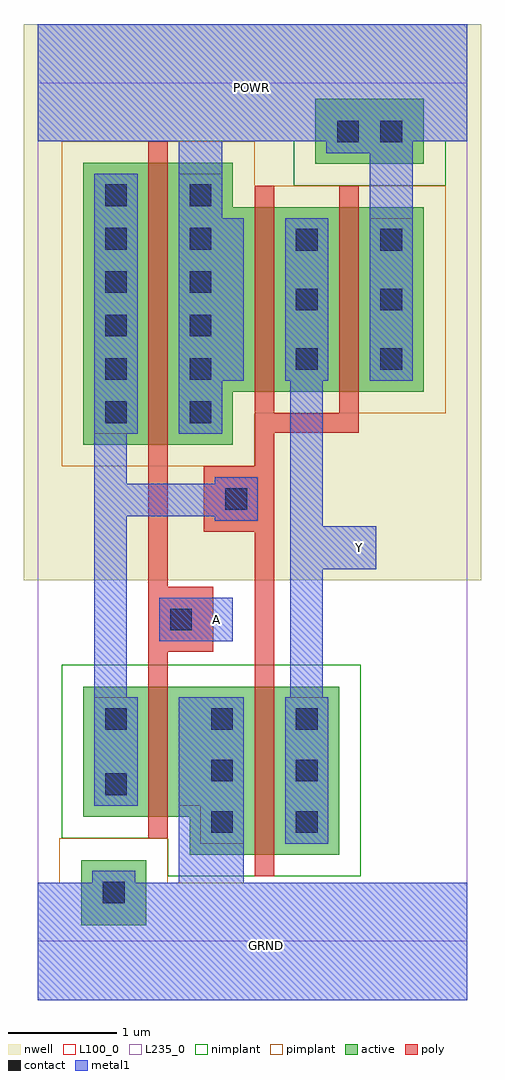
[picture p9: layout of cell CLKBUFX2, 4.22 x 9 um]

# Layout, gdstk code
import gdstk
lib = gdstk.Library(unit=1e-6, precision=1e-09)
def R(c, l, rs):  # rectangles x0, y0, x1, y1
    for r in rs: c.add(gdstk.rectangle(r[:2], r[2:], *l))
def A(c, l, x, y, w, h, nx, ny, dx, dy):  # array of equal rectangles
    R(c, l, [(x+i*dx, y+j*dy, x+i*dx+w, y+j*dy+h) for i in range(nx) for j in range(ny)])
def P(c, l, *ps):  # polygons
    for p in ps: c.add(gdstk.Polygon(p, *l))
active = (1, 0)
nwell = (2, 0)
poly = (3, 0)
nimplant = (4, 0)
pimplant = (5, 0)
contact = (6, 0)
metal1 = (7, 0)
L100_0 = (100, 0)
L235_0 = (235, 0)

clkbufx2 = lib.new_cell('CLKBUFX2')
R(clkbufx2, active, [(0.4,0.15,1,0.75), (2,0.8,2.18,2.35), (2.18,0.8,2.78,2.35), (0.42,1.15,1.02,2.35), (1.02,1.15,1.2,2.35), (0.42,4.58,1.02,7.18), (1.02,4.58,1.2,7.18), (2,5.07,2.18,6.77), (2.18,5.07,2.78,6.77), (2.78,5.07,2.96,6.77), (2.96,5.07,3.56,6.77), (2.56,7.17,3.56,7.77)])
P(clkbufx2, active, [(2,2.35),(1.2,2.35),(1.2,1.15),(1.4,1.15),(1.4,0.8),(2,0.8)],
  [(2,6.77),(1.8,6.77),(1.8,7.18),(1.2,7.18),(1.2,4.58),(1.8,4.58),(1.8,5.07),(2,5.07)])
R(clkbufx2, nwell, [(-0.13,3.33,4.09,8.46)])
R(clkbufx2, poly, [(2,0.6,2.18,2.55), (2,0.6,2.18,0.8), (1.02,0.95,1.2,1.15), (1.02,0.95,1.2,2.55), (1.02,2.35,1.2,2.55), (2,2.35,2.18,2.55), (1.02,4.38,1.2,4.58), (1.02,4.38,1.2,7.38), (2,4.87,2.18,5.07), (2,4.87,2.18,6.97), (2.78,4.87,2.96,5.07), (2.78,4.87,2.96,6.97), (2,6.77,2.18,6.97), (2.78,6.77,2.96,6.97), (1.02,7.18,1.2,7.38)])
P(clkbufx2, poly, [(2.96,4.87),(2,4.87),(2,4.38),(1.53,4.38),(1.53,3.78),(2,3.78),(2,2.53),(2.18,2.53),(2.18,4.69),(2.96,4.69)],
  [(1.62,3.27),(1.2,3.27),(1.2,4.44),(1.02,4.44),(1.02,2.48),(1.2,2.48),(1.2,2.67),(1.62,2.67)])
P(clkbufx2, nimplant, [(3.96,8.46),(0,8.46),(0,7.38),(2.36,7.38),(2.36,6.97),(3.76,6.97),(3.76,7.38),(3.96,7.38)],
  [(2.98,2.55),(0.22,2.55),(0.22,0.95),(1.2,0.95),(1.2,0.6),(2.98,0.6)])
P(clkbufx2, pimplant, [(3.76,6.97),(2,6.97),(2,7.38),(0.22,7.38),(0.22,4.38),(2,4.38),(2,4.87),(3.76,4.87)],
  [(3.96,0.54),(1.2,0.54),(1.2,0.95),(0.2,0.95),(0.2,0.54),(0,0.54),(0,-0.54),(3.96,-0.54)])
A(clkbufx2, contact, 1.6, 1, 0.2, 0.2, 1, 3, 0, 0.475)
A(clkbufx2, contact, 2.38, 1, 0.2, 0.2, 1, 3, 0, 0.475)
A(clkbufx2, contact, 0.62, 4.78, 0.2, 0.2, 1, 6, 0, 0.4)
A(clkbufx2, contact, 1.4, 4.78, 0.2, 0.2, 1, 6, 0, 0.4)
A(clkbufx2, contact, 2.38, 5.27, 0.2, 0.2, 1, 3, 0, 0.55)
A(clkbufx2, contact, 3.16, 5.27, 0.2, 0.2, 1, 3, 0, 0.55)
R(clkbufx2, contact, [(0.6,0.35,0.8,0.55), (0.62,1.35,0.82,1.55), (0.62,1.95,0.82,2.15), (1.22,2.87,1.42,3.07), (1.73,3.98,1.93,4.18), (2.76,7.37,2.96,7.57), (3.16,7.37,3.36,7.57)])
R(clkbufx2, metal1, [(0,-0.54,3.96,0.54), (0.5,0.25,0.9,0.65), (1.3,0.54,1.9,2.25), (1.12,2.77,1.8,3.17), (1.5,2.82,1.8,3.12), (2.82,3.48,3.12,3.78), (1.3,7.08,1.7,7.38), (0,7.38,3.96,8.46)])
P(clkbufx2, metal1, [(3.46,7.67),(2.66,7.67),(2.66,7.27),(3.06,7.27),(3.06,6.67),(3.46,6.67)],
  [(1.9,6.67),(1.7,6.67),(1.7,7.08),(1.3,7.08),(1.3,4.68),(1.7,4.68),(1.7,5.17),(1.9,5.17)],
  [(3.12,3.83),(2.63,3.83),(2.63,5.17),(2.33,5.17),(2.33,2.25),(2.63,2.25),(2.63,3.43),(3.12,3.43)],
  [(2.03,4.28),(1.63,4.28),(1.63,4.22),(0.82,4.22),(0.82,4.68),(0.52,4.68),(0.52,2.25),(0.82,2.25),(0.82,3.92),(1.63,3.92),(1.63,3.88),(2.03,3.88)])
R(clkbufx2, L100_0, [(2.28,0.9,2.68,2.25), (0.52,1.25,0.92,2.25), (0.52,4.68,0.92,7.08), (3.06,5.17,3.46,6.67)])
P(clkbufx2, L100_0, [(1.9,6.67),(1.7,6.67),(1.7,7.08),(1.3,7.08),(1.3,4.68),(1.7,4.68),(1.7,5.17),(1.9,5.17)],
  [(1.9,2.25),(1.3,2.25),(1.3,1.25),(1.5,1.25),(1.5,0.9),(1.9,0.9)])
R(clkbufx2, L235_0, [(0,0,3.96,7.92)])
clkbufx2.add(gdstk.FlexPath([(2.48,0.9),(2.48,2.25)], 0.4, ends="flush", simple_path=True, layer=7, datatype=0))  # metal1
clkbufx2.add(gdstk.FlexPath([(0.72,4.68),(0.72,7.08)], 0.4, ends="flush", simple_path=True, layer=7, datatype=0))  # metal1
clkbufx2.add(gdstk.FlexPath([(0.72,1.25),(0.72,2.25)], 0.4, ends="flush", simple_path=True, layer=7, datatype=0))  # metal1
clkbufx2.add(gdstk.FlexPath([(3.26,5.17),(3.26,6.67)], 0.4, ends="flush", simple_path=True, layer=7, datatype=0))  # metal1
clkbufx2.add(gdstk.FlexPath([(2.48,5.17),(2.48,6.67)], 0.4, ends="flush", simple_path=True, layer=7, datatype=0))  # metal1
clkbufx2.add(gdstk.Label('GRND', (2.11,-0.04), layer=230, texttype=0))
clkbufx2.add(gdstk.Label('A', (1.65,2.97), layer=230, texttype=0))
clkbufx2.add(gdstk.Label('Y', (2.97,3.63), layer=230, texttype=0))
clkbufx2.add(gdstk.Label('POWR', (1.97,7.87), layer=230, texttype=0))

lib.write_gds('CLKBUFX2.gds')
